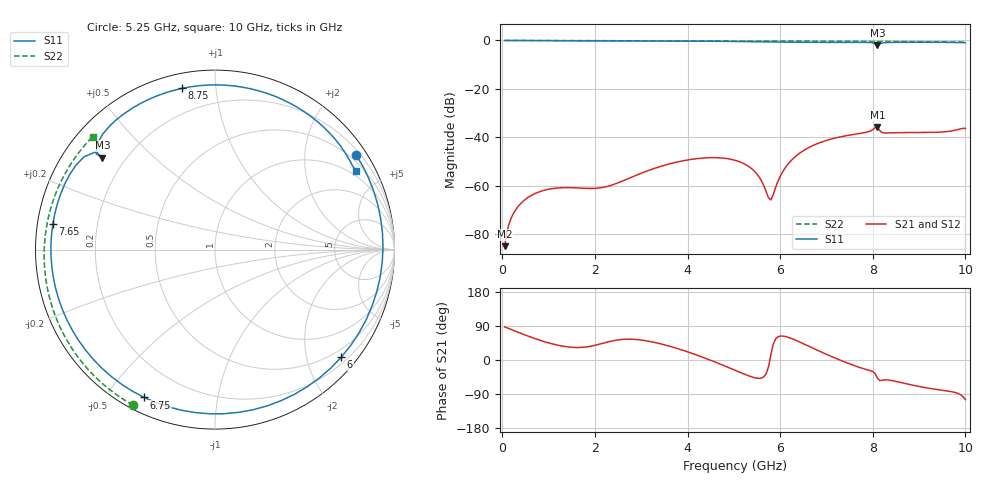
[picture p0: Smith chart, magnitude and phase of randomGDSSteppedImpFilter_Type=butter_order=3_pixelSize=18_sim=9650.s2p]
! freq	dB(S11)	phase(S11)	dB(S12)	phase(S12)
!  dB(S21)	phase(S21)	dB(S22)	phase(S22)
!S-par simulation data
#  GHz  S  DB  R 50
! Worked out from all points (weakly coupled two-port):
!   200 points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, 50 MHz to 10 GHz, reference 50 ohm
!   highest |S21| = -35.80 dB at 8.1 GHz (marker M1); lowest = -85.0 dB at 50 MHz (marker M2)
!   lowest |S11| = -1.8 dB at 8.1 GHz (marker M3), VSWR 9.54, Z = 5.9 + j17.6 ohm
!   |S11| at or under -10 dB: nowhere
!   |S22| runs from -0.7 to 0.0 dB; largest |S21 - S12| = 0
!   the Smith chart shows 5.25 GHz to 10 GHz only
!   S11 on the Smith chart (normalised r, x): 5.25 GHz: 0.32, +3.26; 6 GHz: 0.33, -2.68; 6.75 GHz: 0.06, -0.63; 7.65 GHz: 0.04, +0.08; 8.75 GHz: 0.07, +0.81; 10 GHz: 0.81, +3.69
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0.05  -0.00 -3.9  -84.98 87.5  -84.98 87.5  -0.00 -1.2
0.3  -0.03 -22.8  -69.64 75.1  -69.64 75.1  -0.01 -7.3
0.6  -0.06 -44.8  -64.31 61.1  -64.31 61.1  -0.02 -14.6
1.15  -0.10 -82.4  -61.02 40.5  -61.02 40.5  -0.04 -27.8
1.75  -0.12 -118.6  -61.05 33.6  -61.05 33.6  -0.05 -41.9
2.6  -0.16 -163.4  -58.03 54.4  -58.03 54.4  -0.08 -61.4
3.4  -0.20 156.3  -52.13 43.2  -52.13 43.2  -0.10 -79.1
4.35  -0.29 102.4  -48.55 6.3  -48.55 6.3  -0.14 -99.3
5.05  -0.42 51.2  -49.63 -28.4  -49.63 -28.4  -0.17 -113.7
5.25  -0.47 33.9  -51.22 -38.5  -51.22 -38.5  -0.18 -117.8
5.8  -0.63 -19.6  -65.88 14.3  -65.88 14.3  -0.22 -129.0
6  -0.68 -40.4  -56.14 63.0  -56.14 63.0  -0.23 -133.0
6.35  -0.75 -76.7  -47.62 51.4  -47.62 51.4  -0.26 -140.1
6.7  -0.78 -110.9  -43.46 31.7  -43.46 31.7  -0.28 -147.3
6.75  -0.79 -115.6  -43.03 28.8  -43.03 28.8  -0.29 -148.3
7.2  -0.79 -154.5  -40.26 4.4  -40.26 4.4  -0.33 -157.6
7.65  -0.77 171.0  -38.63 -16.9  -38.63 -16.9  -0.37 -167.1
8.1  -1.83 140.7  -35.80 -47.9  -35.80 -47.9  -0.42 -176.8
8.35  -0.83 126.9  -38.21 -53.0  -38.21 -53.0  -0.44 177.6
8.75  -0.75 101.5  -38.04 -63.4  -38.04 -63.4  -0.49 168.5
9.3  -0.75 68.7  -37.98 -76.2  -37.98 -76.2  -0.56 155.3
10  -0.93 29.1  -36.39 -104.4  -36.39 -104.4  -0.65 137.3
